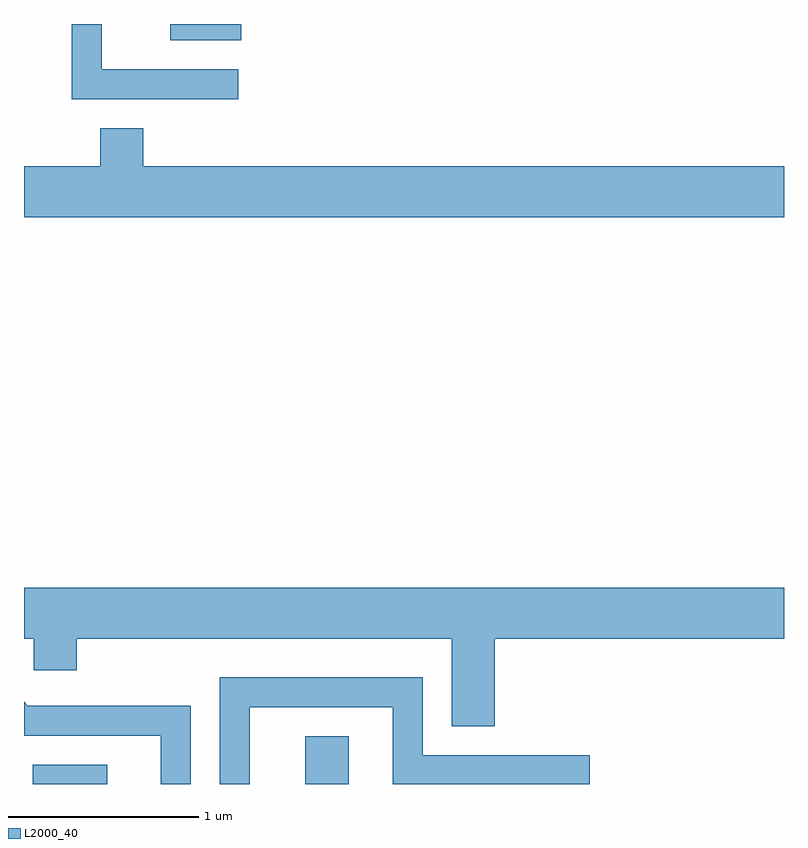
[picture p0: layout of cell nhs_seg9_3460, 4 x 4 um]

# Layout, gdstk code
import gdstk
lib = gdstk.Library(unit=1e-6, precision=1e-09)
def R(c, l, rs):  # rectangles x0, y0, x1, y1
    for r in rs: c.add(gdstk.rectangle(r[:2], r[2:], *l))
def P(c, l, *ps):  # polygons
    for p in ps: c.add(gdstk.Polygon(p, *l))
L2000_40 = (2000, 40)

nhs_seg9_3460 = lib.new_cell('nhs_seg9_3460')
R(nhs_seg9_3460, L2000_40, [(287.656,1944.432,288.049,1944.534), (289.091,1944.432,289.319,1944.684)])
P(nhs_seg9_3460, L2000_40, [(288.754,1948.432),(288.186,1948.432),(288.186,1948.431),(288.381,1948.431),(288.381,1948.346),(288.754,1948.346)],
  [(288.738,1948.194),(288.019,1948.194),(288.019,1948.432),(287.861,1948.432),(287.861,1948.036),(288.738,1948.036)],
  [(291.611,1947.684),(288.239,1947.684),(288.239,1947.884),(288.011,1947.884),(288.011,1947.684),(287.611,1947.684),(287.611,1947.416),(291.611,1947.416)],
  [(290.089,1945.196),(291.611,1945.196),(291.611,1945.464),(287.611,1945.464),(287.611,1945.196),(287.661,1945.196),(287.661,1945.031),(287.889,1945.031),(287.889,1945.196),(289.861,1945.196),(289.861,1944.736),(290.089,1944.736)],
  [(288.799,1944.836),(289.551,1944.836),(289.551,1944.432),(290.588,1944.432),(290.588,1944.584),(289.709,1944.584),(289.709,1944.994),(288.641,1944.994),(288.641,1944.432),(288.799,1944.432)],
  [(288.489,1944.844),(287.632,1944.844),(287.611,1944.865),(287.611,1944.686),(288.331,1944.686),(288.331,1944.432),(288.489,1944.432)])

lib.write_gds('nhs_seg9_3460.gds')
